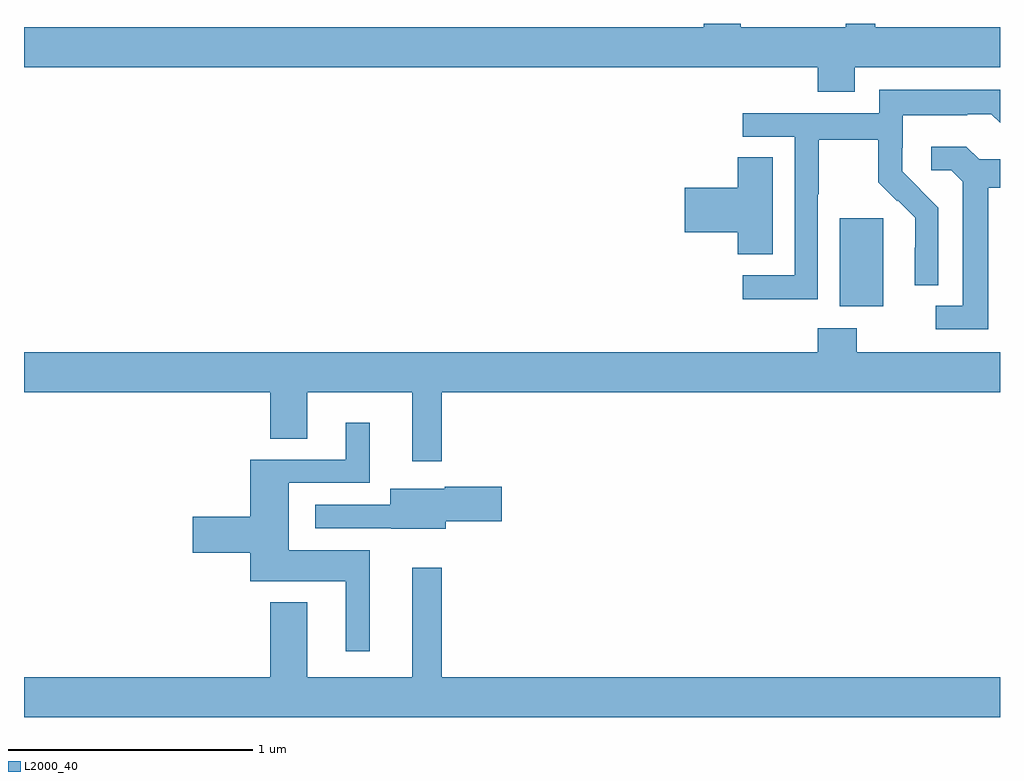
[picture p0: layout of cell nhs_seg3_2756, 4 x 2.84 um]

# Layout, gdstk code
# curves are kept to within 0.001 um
import gdstk
lib = gdstk.Library(unit=1e-6, precision=1e-09)
def R(c, l, rs):  # rectangles x0, y0, x1, y1
    for r in rs: c.add(gdstk.rectangle(r[:2], r[2:], *l))
def P(c, l, *ps):  # polygons
    for p in ps: c.add(gdstk.Polygon(p, *l))
L2000_40 = (2000, 40)

nhs_seg3_2756 = lib.new_cell('nhs_seg3_2756')
R(nhs_seg3_2756, L2000_40, [(256.343,729.242,256.522,729.603)])
P(nhs_seg3_2756, L2000_40, [(256.405,730.22),(257,730.22),(257,730.384),(256.489,730.384),(256.489,730.4),(256.367,730.4),(256.367,730.384),(255.937,730.384),(255.937,730.4),(255.785,730.4),(255.785,730.384),(253,730.384),(253,730.22),(256.253,730.22),(256.253,730.121),(256.405,730.121)],
  [(256.254,729.7),(256.257,729.7),(256.257,729.924),(256.501,729.924),(256.501,729.749),(256.578,729.672),(256.581,729.675),(256.652,729.605),(256.652,729.482),(256.65,729.482),(256.65,729.328),(256.746,729.328),(256.746,729.646),(256.6,729.794),(256.6,729.891),(256.602,729.891),(256.602,730.025),(256.865,730.025),(256.865,730.029),(256.965,730.029),(257,729.994),(257,730.129),(256.506,730.129),(256.506,730.032),(255.945,730.032),(255.945,729.936),(256.158,729.936),(256.158,729.369),(255.945,729.369),(255.945,729.271),(256.254,729.271)],
  [(256.951,729.728),(257,729.728),(257,729.843),(256.914,729.843),(256.862,729.895),(256.719,729.895),(256.719,729.798),(256.8,729.798),(256.847,729.751),(256.847,729.243),(256.737,729.243),(256.737,729.147),(256.951,729.147)],
  [(256.069,729.851),(255.926,729.851),(255.926,729.728),(255.708,729.728),(255.708,729.545),(255.926,729.545),(255.926,729.454),(256.069,729.454)],
  [(257,729.052),(256.413,729.052),(256.413,729.151),(256.253,729.151),(256.253,729.052),(253,729.052),(253,728.888),(254.009,728.888),(254.009,728.698),(254.161,728.698),(254.161,728.888),(254.591,728.888),(254.591,728.607),(254.713,728.607),(254.713,728.888),(257,728.888)],
  [(254.416,728.242),(254.086,728.242),(254.086,728.517),(254.416,728.517),(254.416,728.764),(254.318,728.764),(254.318,728.613),(253.928,728.613),(253.928,728.378),(253.692,728.378),(253.692,728.231),(253.928,728.231),(253.928,728.114),(254.318,728.114),(254.318,727.827),(254.416,727.827)],
  [(254.728,728.36),(254.959,728.36),(254.959,728.502),(254.724,728.502),(254.724,728.494),(254.501,728.494),(254.501,728.427),(254.193,728.427),(254.193,728.331),(254.505,728.331),(254.505,728.33),(254.728,728.33)],
  [(257,727.72),(254.713,727.72),(254.713,728.17),(254.591,728.17),(254.591,727.72),(254.161,727.72),(254.161,728.029),(254.009,728.029),(254.009,727.72),(253,727.72),(253,727.556),(257,727.556)])

lib.write_gds('nhs_seg3_2756.gds')
